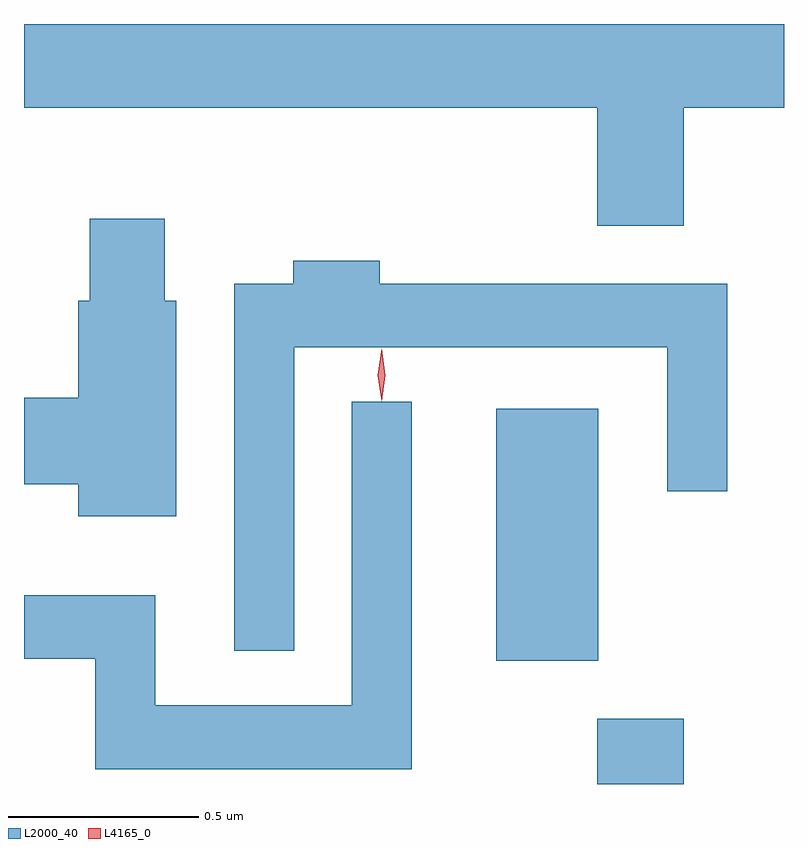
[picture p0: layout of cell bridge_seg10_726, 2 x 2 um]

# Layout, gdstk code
import gdstk
lib = gdstk.Library(unit=1e-6, precision=1e-09)
def R(c, l, rs):  # rectangles x0, y0, x1, y1
    for r in rs: c.add(gdstk.rectangle(r[:2], r[2:], *l))
def P(c, l, *ps):  # polygons
    for p in ps: c.add(gdstk.Polygon(p, *l))
L2000_40 = (2000, 40)
L4165_0 = (4165, 0)

bridge_seg10_726 = lib.new_cell('bridge_seg10_726')
R(bridge_seg10_726, L2000_40, [(1041.361,2092.157,1041.589,2092.329), (1041.096,2092.481,1041.364,2093.144)])
P(bridge_seg10_726, L2000_40, [(1041.589,2093.936),(1041.853,2093.936),(1041.853,2094.157),(1039.853,2094.157),(1039.853,2093.936),(1041.361,2093.936),(1041.361,2093.626),(1041.589,2093.626)],
  [(1040.254,2093.429),(1040.224,2093.429),(1040.224,2093.644),(1040.026,2093.644),(1040.026,2093.429),(1039.996,2093.429),(1039.996,2093.174),(1039.853,2093.174),(1039.853,2092.946),(1039.996,2092.946),(1039.996,2092.861),(1040.254,2092.861)],
  [(1040.564,2093.306),(1041.546,2093.306),(1041.546,2092.928),(1041.704,2092.928),(1041.704,2093.474),(1040.789,2093.474),(1040.789,2093.534),(1040.561,2093.534),(1040.561,2093.474),(1040.406,2093.474),(1040.406,2092.508),(1040.564,2092.508)],
  [(1040.874,2093.163),(1040.716,2093.163),(1040.716,2092.364),(1040.199,2092.364),(1040.199,2092.654),(1039.853,2092.654),(1039.853,2092.486),(1040.041,2092.486),(1040.041,2092.196),(1040.874,2092.196)])
P(bridge_seg10_726, L4165_0, [(1040.794,2093.164),(1040.794,2093.164),(1040.784,2093.233),(1040.794,2093.302),(1040.794,2093.303),(1040.795,2093.302),(1040.804,2093.233),(1040.795,2093.164)])

lib.write_gds('bridge_seg10_726.gds')
